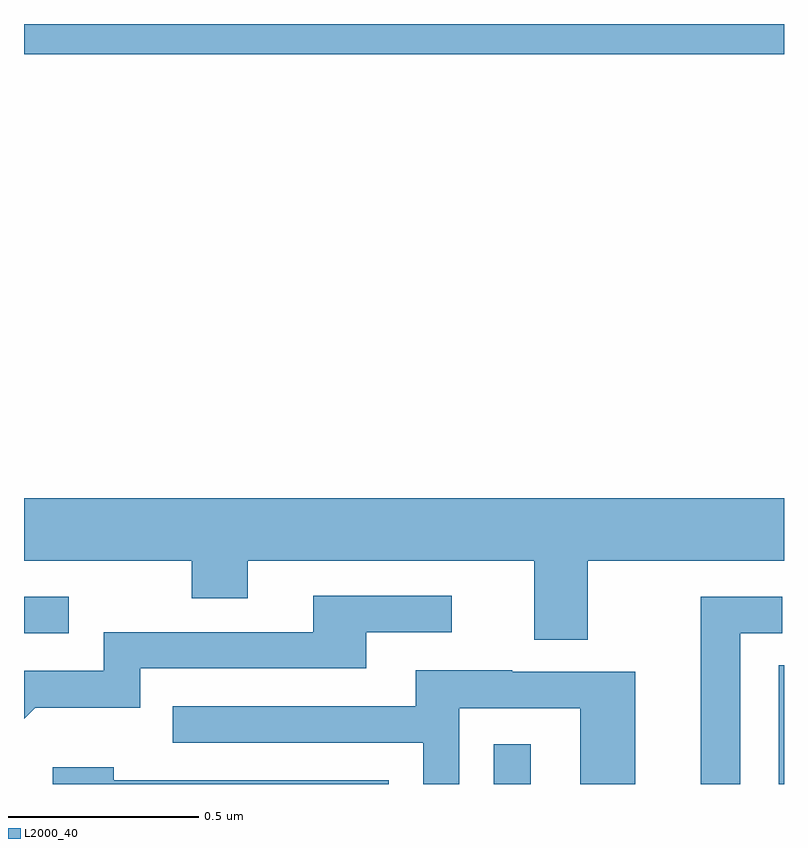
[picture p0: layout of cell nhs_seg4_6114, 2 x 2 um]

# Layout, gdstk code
import gdstk
lib = gdstk.Library(unit=1e-6, precision=1e-09)
def R(c, l, rs):  # rectangles x0, y0, x1, y1
    for r in rs: c.add(gdstk.rectangle(r[:2], r[2:], *l))
def P(c, l, *ps):  # polygons
    for p in ps: c.add(gdstk.Polygon(p, *l))
L2000_40 = (2000, 40)

nhs_seg4_6114 = lib.new_cell('nhs_seg4_6114')
R(nhs_seg4_6114, L2000_40, [(187.236,794.9,187.333,795.004), (187.986,794.9,188,795.212), (186,795.297,186.118,795.393), (186,796.82,188,796.9)])
P(nhs_seg4_6114, L2000_40, [(187.483,795.488),(188,795.488),(188,795.652),(186,795.652),(186,795.488),(186.442,795.488),(186.442,795.389),(186.589,795.389),(186.589,795.488),(187.343,795.488),(187.343,795.28),(187.483,795.28)],
  [(186.029,795.101),(186.306,795.101),(186.306,795.204),(186.901,795.204),(186.901,795.3),(187.126,795.3),(187.126,795.396),(186.761,795.396),(186.761,795.3),(186.21,795.3),(186.21,795.198),(186,795.198),(186,795.072)],
  [(187.885,795.297),(187.996,795.297),(187.996,795.393),(187.781,795.393),(187.781,794.9),(187.885,794.9)],
  [(187.146,795.099),(187.464,795.099),(187.464,794.9),(187.609,794.9),(187.609,795.195),(187.285,795.195),(187.285,795.199),(187.031,795.199),(187.031,795.105),(186.391,795.105),(186.391,795.009),(187.05,795.009),(187.05,794.9),(187.146,794.9)],
  [(186.96,794.91),(186.236,794.91),(186.236,794.944),(186.075,794.944),(186.075,794.9),(186.96,794.9)])

lib.write_gds('nhs_seg4_6114.gds')
